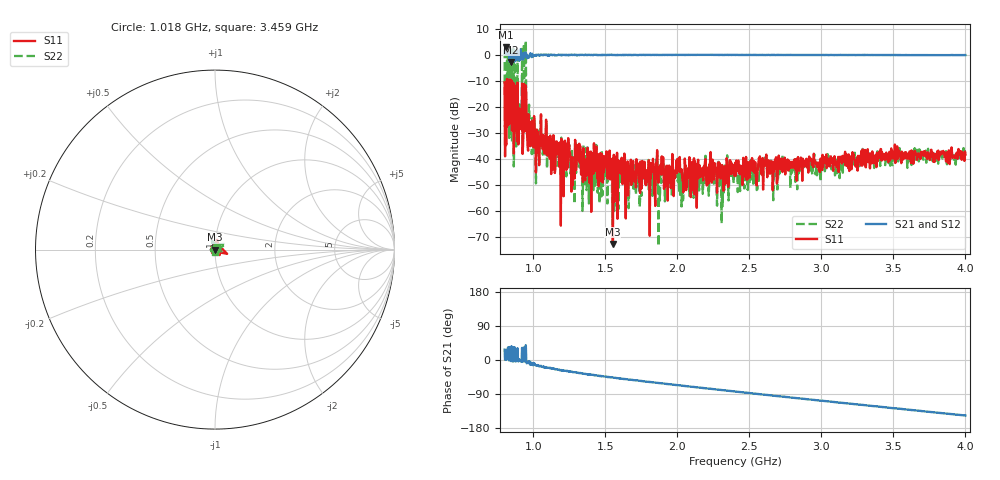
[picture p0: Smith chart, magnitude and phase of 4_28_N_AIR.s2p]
!Keysight Technologies N9950B: A.12.38
!Date: Friday, 28 April 2023 16:32:10
!Timezone: (UTC-06:00) Central Time (US & Canada)
!Model: N9950B
!Serial: MY61131330
!GPS Latitude:
!GPS Longitude:
!GPS TimeStamp: 0001-01-01 00:00:00Z
!GPS Seconds Since Last Read: 0
!CHECKSUM:1812574082
!Correction: S11(ON U)S21(ON U)S12(ON U)S22(ON U)
!S2P File: Measurements:S11,S21,S12,S22:
# Hz S DB R 50
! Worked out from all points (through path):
!   1001 points, 800 MHz to 4 GHz, reference 50 ohm
!   highest |S21| = 2.97 dB at 806.4 MHz (marker M1); lowest = -2.9 dB at 844.8 MHz (marker M2)
!   lowest |S11| = -72.6 dB at 1.552 GHz (marker M3), VSWR 1.00, Z = 50 - j0.0167 ohm
!   |S11| at or under -10 dB: start of sweep to 815.9 MHz; 816.1 MHz to 822.3 MHz (6.198 MHz wide, 0.757 % of centre); 848 MHz to end of sweep (the widest 3 of 5)
!   |S22| runs from -73.5 to 5.4 dB; largest |S21 - S12| = 1.3
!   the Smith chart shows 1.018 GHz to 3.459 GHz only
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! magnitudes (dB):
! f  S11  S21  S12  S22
! 800 MHz  -10.7  0.4  2.1  2.0
! 806.4 MHz  -27.3  3.0  3.0  -16.6
! 819.2 MHz  -27.4  2.8  2.8  -21.4
! 832 MHz  -26.8  -2.5  -2.5  -32.0
! 844.8 MHz  -22.4  -2.9  -2.8  -30.4
! 867.2 MHz  -24.1  -2.7  -2.7  -28.4
! 937.6 MHz  -29.4  -0.7  -0.7  -21.0
! 972.8 MHz  -25.6  -0.2  -0.2  -23.6
! 1.03 GHz  -29.7  -0.1  -0.1  -29.1
! 1.194 GHz  -32.3  -0.3  -0.3  -31.9
! 1.235 GHz  -35.5  -0.1  -0.1  -38.1
! 1.27 GHz  -39.3  -0.1  -0.1  -43.4
! 1.306 GHz  -35.2  -0.2  -0.2  -34.5
! 1.334 GHz  -43.2  -0.1  -0.1  -44.9
! 1.514 GHz  -47.1  -0.2  -0.2  -57.2
! 1.552 GHz  -72.6  -0.1  -0.1  -46.7
! 1.626 GHz  -42.4  -0.1  -0.1  -44.4
! 1.869 GHz  -49.2  -0.1  -0.1  -73.5
! 2.4 GHz  -41.7  -0.1  -0.1  -45.9
! 2.934 GHz  -42.3  -0.1  -0.1  -44.9
! 3.469 GHz  -37.8  -0.2  -0.2  -39.8
! 4 GHz  -38.3  -0.2  -0.2  -39.8
